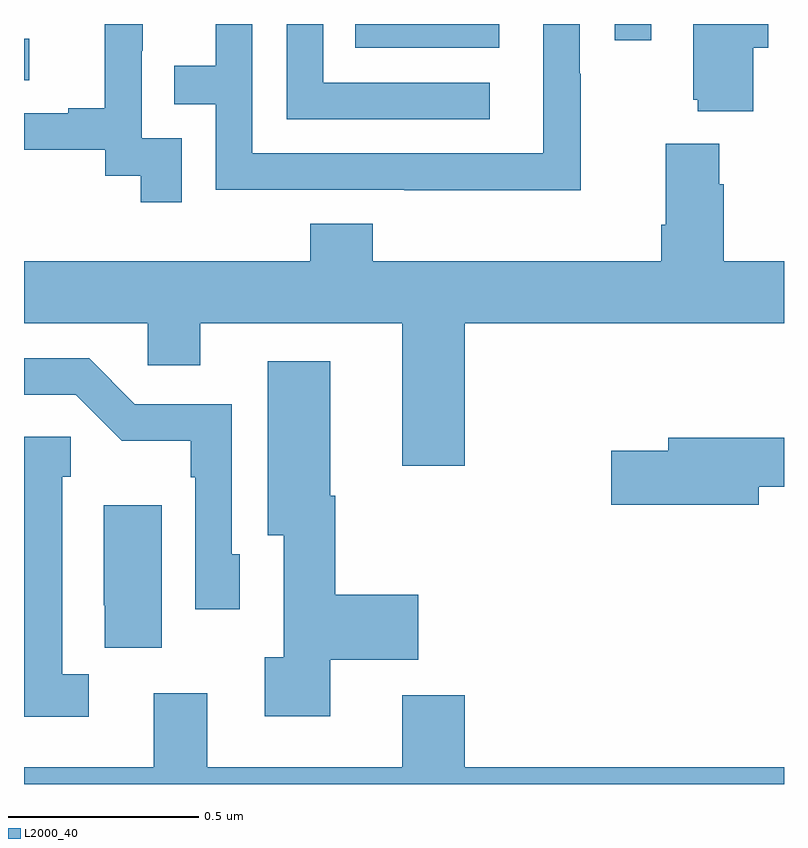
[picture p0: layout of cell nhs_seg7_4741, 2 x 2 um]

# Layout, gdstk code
import gdstk
lib = gdstk.Library(unit=1e-6, precision=1e-09)
def R(c, l, rs):  # rectangles x0, y0, x1, y1
    for r in rs: c.add(gdstk.rectangle(r[:2], r[2:], *l))
def P(c, l, *ps):  # polygons
    for p in ps: c.add(gdstk.Polygon(p, *l))
L2000_40 = (2000, 40)

nhs_seg7_4741 = lib.new_cell('nhs_seg7_4741')
R(nhs_seg7_4741, L2000_40, [(176,1071.852,176.014,1071.961), (176.872,1071.938,177.25,1072), (177.555,1071.957,177.651,1072)])
P(nhs_seg7_4741, L2000_40, [(176.415,1071.699),(176.31,1071.699),(176.31,1071.929),(176.312,1071.929),(176.312,1072),(176.213,1072),(176.213,1071.778),(176.117,1071.778),(176.117,1071.765),(176,1071.765),(176,1071.669),(176.214,1071.669),(176.214,1071.601),(176.307,1071.601),(176.307,1071.531),(176.415,1071.531)],
  [(177.465,1071.869),(177.462,1071.869),(177.462,1072),(177.366,1072),(177.366,1071.66),(176.601,1071.66),(176.601,1072),(176.505,1072),(176.505,1071.89),(176.395,1071.89),(176.395,1071.789),(176.505,1071.789),(176.505,1071.564),(177.001,1071.564),(177.001,1071.563),(177.465,1071.563)],
  [(177.919,1071.938),(177.958,1071.938),(177.958,1072),(177.761,1072),(177.761,1071.801),(177.773,1071.801),(177.773,1071.77),(177.919,1071.77)],
  [(177.226,1071.846),(176.787,1071.846),(176.787,1072),(176.691,1072),(176.691,1071.75),(177.226,1071.75)],
  [(177.16,1071.212),(178,1071.212),(178,1071.376),(177.842,1071.376),(177.842,1071.578),(177.829,1071.578),(177.829,1071.685),(177.689,1071.685),(177.689,1071.472),(177.677,1071.472),(177.677,1071.376),(176.918,1071.376),(176.918,1071.475),(176.753,1071.475),(176.753,1071.376),(176,1071.376),(176,1071.212),(176.325,1071.212),(176.325,1071.102),(176.464,1071.102),(176.464,1071.212),(176.996,1071.212),(176.996,1070.838),(177.16,1070.838)],
  [(176.568,1070.604),(176.547,1070.604),(176.547,1071),(176.292,1071),(176.172,1071.12),(176,1071.12),(176,1071.024),(176.136,1071.024),(176.257,1070.903),(176.439,1070.903),(176.439,1070.807),(176.451,1070.807),(176.451,1070.46),(176.568,1070.46)],
  [(176.806,1070.327),(177.037,1070.327),(177.037,1070.498),(176.819,1070.498),(176.819,1070.758),(176.806,1070.758),(176.806,1071.112),(176.642,1071.112),(176.642,1070.654),(176.684,1070.654),(176.684,1070.334),(176.634,1070.334),(176.634,1070.178),(176.806,1070.178)],
  [(176.17,1070.289),(176.101,1070.289),(176.101,1070.808),(176.123,1070.808),(176.123,1070.914),(176,1070.914),(176,1070.177),(176.17,1070.177)],
  [(177.934,1070.782),(178,1070.782),(178,1070.911),(177.695,1070.911),(177.695,1070.877),(177.546,1070.877),(177.546,1070.735),(177.934,1070.735)],
  [(176.362,1070.734),(176.21,1070.734),(176.21,1070.47),(176.213,1070.47),(176.213,1070.358),(176.362,1070.358)],
  [(178,1070.044),(177.16,1070.044),(177.16,1070.233),(176.996,1070.233),(176.996,1070.044),(176.482,1070.044),(176.482,1070.239),(176.342,1070.239),(176.342,1070.044),(176,1070.044),(176,1070),(178,1070)])

lib.write_gds('nhs_seg7_4741.gds')
